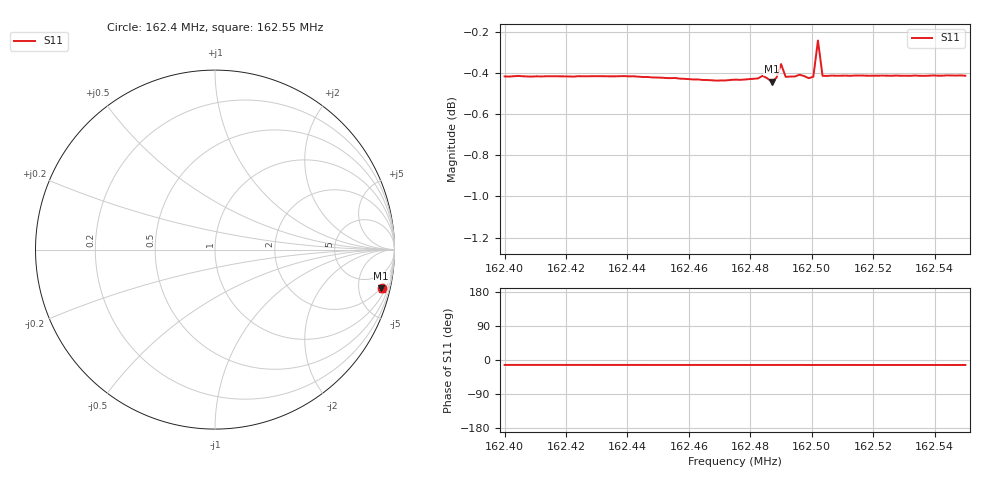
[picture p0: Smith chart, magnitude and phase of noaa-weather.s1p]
! Calibrated averaged scanner-service zoom
# Hz S RI R 50
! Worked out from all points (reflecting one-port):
!   101 points, 162.4 MHz to 162.55 MHz, reference 50 ohm
!   lowest |S11| = -0.4 dB at 162.487 MHz (marker M1), VSWR 39.30, Z = 93.3 - j415 ohm
!   phase of S11 starts at -13 deg and turns -0 deg over the sweep
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1.624e8  0.9289 -0.2138
1.624045e8  0.9291 -0.2142
1.62406e8  0.9289 -0.2139
1.624195e8  0.9288 -0.2143
1.624375e8  0.9288 -0.2148
1.62442e8  0.9287 -0.215
1.62454e8  0.9276 -0.2152
1.624555e8  0.9277 -0.2151
1.62457e8  0.9274 -0.215
1.62469e8  0.9263 -0.2151
1.62475e8  0.9268 -0.2153
1.624765e8  0.9267 -0.2153
1.624825e8  0.9274 -0.2156
1.62484e8  0.9288 -0.2158
1.62487e8  0.9257 -0.2153
1.624885e8  0.9277 -0.2161
1.6249e8  0.9351 -0.2163
1.624915e8  0.9282 -0.216
1.624945e8  0.9283 -0.216
1.62496e8  0.9295 -0.2151
1.62499e8  0.9273 -0.2168
1.625005e8  0.9281 -0.2165
1.62502e8  0.9472 -0.2205
1.625035e8  0.9286 -0.2163
1.62505e8  0.9287 -0.216
1.625125e8  0.9286 -0.2163
1.62532e8  0.9286 -0.2167
1.6255e8  0.9285 -0.2171
